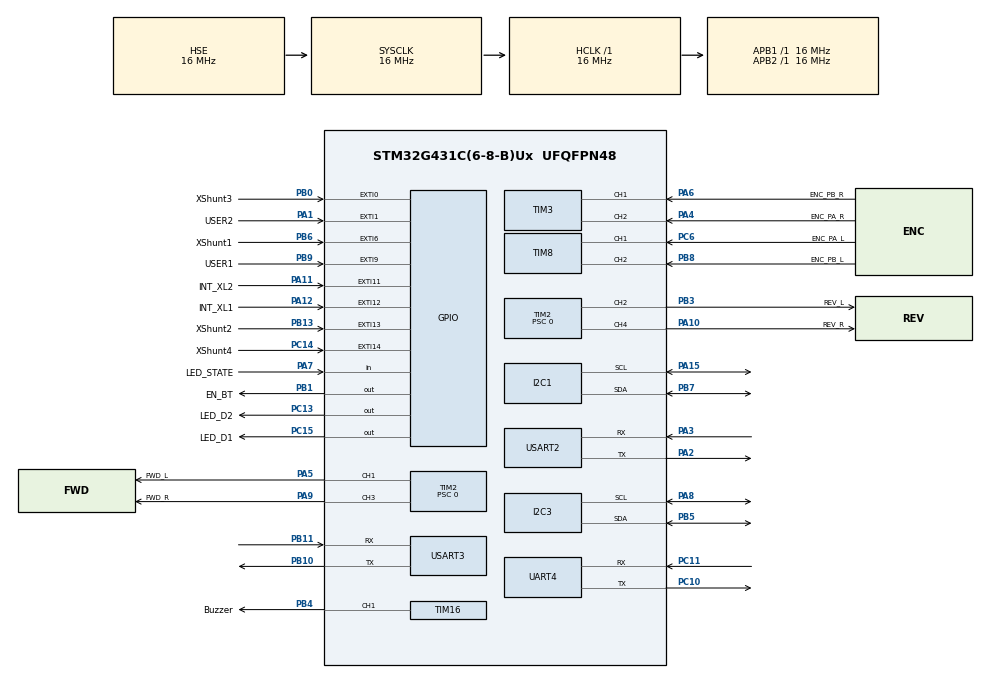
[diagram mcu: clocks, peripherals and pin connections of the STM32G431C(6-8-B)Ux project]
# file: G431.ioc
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Dma.I2C1_TX.0.Direction=DMA_MEMORY_TO_PERIPH
Dma.I2C1_TX.0.EventEnable=DISABLE
Dma.I2C1_TX.0.Instance=DMA1_Channel1
Dma.I2C1_TX.0.MemDataAlignment=DMA_MDATAALIGN_BYTE
Dma.I2C1_TX.0.MemInc=DMA_MINC_ENABLE
Dma.I2C1_TX.0.Mode=DMA_NORMAL
Dma.I2C1_TX.0.PeriphDataAlignment=DMA_PDATAALIGN_BYTE
Dma.I2C1_TX.0.PeriphInc=DMA_PINC_DISABLE
Dma.I2C1_TX.0.Polarity=HAL_DMAMUX_REQ_GEN_RISING
Dma.I2C1_TX.0.Priority=DMA_PRIORITY_MEDIUM
Dma.I2C1_TX.0.RequestNumber=1
Dma.I2C1_TX.0.SignalID=NONE
Dma.I2C1_TX.0.SyncEnable=DISABLE
Dma.I2C1_TX.0.SyncPolarity=HAL_DMAMUX_SYNC_NO_EVENT
Dma.I2C1_TX.0.SyncRequestNumber=1
Dma.I2C1_TX.0.SyncSignalID=NONE
Dma.Request0=I2C1_TX
FREERTOS.Tasks01=defaultTask,0,128,StartDefaultTask,Default,NULL,Dynamic,NULL,NULL
I2C1.Timing=0x00503D58
I2C3.Timing=0x00503D58
Mcu.Family=STM32G4
Mcu.Name=STM32G431C(6-8-B)Ux
Mcu.Package=UFQFPN48
NVIC.DMA1_Channel1_IRQn=true\:5\:0\:false\:false\:true\:true\:false\:true\:true
NVIC.EXTI0_IRQn=true\:5\:0\:false\:false\:true\:true\:true\:true\:true
NVIC.EXTI15_10_IRQn=true\:5\:0\:false\:false\:true\:true\:true\:true\:true
NVIC.EXTI1_IRQn=true\:5\:0\:false\:false\:true\:true\:true\:true\:true
NVIC.EXTI9_5_IRQn=true\:5\:0\:false\:false\:true\:true\:true\:true\:true
NVIC.FLASH_IRQn=true\:5\:0\:false\:false\:true\:true\:true\:true\:true
NVIC.FPU_IRQn=true\:5\:0\:false\:false\:true\:true\:true\:false\:true
NVIC.I2C1_ER_IRQn=true\:5\:0\:false\:false\:true\:true\:true\:true\:true
NVIC.I2C1_EV_IRQn=true\:5\:0\:false\:false\:true\:true\:true\:true\:true
NVIC.I2C3_ER_IRQn=true\:5\:0\:false\:false\:true\:true\:true\:true\:true
NVIC.I2C3_EV_IRQn=true\:5\:0\:false\:false\:true\:true\:true\:true\:true
NVIC.PVD_PVM_IRQn=true\:5\:0\:false\:false\:true\:true\:true\:true\:true
NVIC.PriorityGroup=NVIC_PRIORITYGROUP_4
NVIC.RCC_IRQn=true\:5\:0\:false\:false\:true\:true\:true\:false\:true
NVIC.TIM1_UP_TIM16_IRQn=true\:5\:0\:false\:false\:true\:true\:true\:true\:true
NVIC.TIM2_IRQn=true\:5\:0\:false\:false\:true\:true\:true\:true\:true
NVIC.TIM3_IRQn=true\:5\:0\:false\:false\:true\:true\:true\:true\:true
NVIC.TIM6_DAC_IRQn=true\:15\:0\:false\:false\:true\:false\:false\:true\:true
NVIC.TIM7_IRQn=true\:5\:0\:false\:false\:true\:true\:true\:true\:true
NVIC.TIM8_BRK_IRQn=true\:5\:0\:false\:false\:true\:true\:true\:true\:true
NVIC.TIM8_CC_IRQn=true\:5\:0\:false\:false\:true\:true\:true\:true\:true
NVIC.TIM8_TRG_COM_IRQn=true\:5\:0\:false\:false\:true\:true\:true\:true\:true
NVIC.TIM8_UP_IRQn=true\:5\:0\:false\:false\:true\:true\:true\:true\:true
NVIC.TimeBase=TIM6_DAC_IRQn
NVIC.TimeBaseIP=TIM6
NVIC.UART4_IRQn=true\:5\:0\:false\:false\:true\:true\:true\:true\:true
NVIC.USART2_IRQn=true\:5\:0\:false\:false\:true\:true\:true\:true\:true
NVIC.USART3_IRQn=true\:5\:0\:false\:false\:true\:true\:true\:true\:true
PA1.GPIO_Label=USER2
PA1.GPIO_ModeDefaultEXTI=GPIO_MODE_IT_FALLING
PA1.GPIO_PuPd=GPIO_PULLUP
PA1.Signal=GPXTI1
PA10.GPIO_Label=REV_R
PA10.Signal=S_TIM2_CH4
PA11.GPIO_Label=INT_XL2
PA11.Signal=GPXTI11
PA12.GPIO_Label=INT_XL1
PA12.Signal=GPXTI12
PA13.Mode=Serial_Wire
PA13.Signal=SYS_JTMS-SWDIO
PA14.Mode=Serial_Wire
PA14.Signal=SYS_JTCK-SWCLK
PA15.Mode=I2C
PA15.Signal=I2C1_SCL
PA2.Mode=Asynchronous
PA2.Signal=USART2_TX
PA3.Mode=Asynchronous
PA3.Signal=USART2_RX
PA4.GPIO_Label=ENC_PA_R
PA4.Signal=S_TIM3_CH2
PA5.GPIO_Label=FWD_L
PA5.Signal=S_TIM2_CH1
PA6.GPIO_Label=ENC_PB_R
PA6.Signal=S_TIM3_CH1
PA7.GPIO_Label=LED_STATE
PA7.Signal=GPIO_Input
PA8.Mode=I2C
PA8.Signal=I2C3_SCL
PA9.GPIO_Label=FWD_R
PA9.Signal=S_TIM2_CH3
PB0.GPIO_Label=XShunt3
PB0.Signal=GPXTI0
PB1.GPIO_Label=EN_BT
PB1.Signal=GPIO_Output
PB10.Mode=Asynchronous
PB10.Signal=USART3_TX
PB11.Mode=Asynchronous
PB11.Signal=USART3_RX
PB13.GPIO_Label=XShunt2
PB13.Signal=GPXTI13
PB15.GPIO_Label=M_CTRL
PB15.Signal=S_TIM15_CH2
PB3.GPIO_Label=REV_L
PB3.Signal=S_TIM2_CH2
PB4.GPIO_Label=Buzzer
PB4.Signal=S_TIM16_CH1
PB5.Mode=I2C
PB5.Signal=I2C3_SDA
PB6.GPIO_Label=XShunt1
PB6.Signal=GPXTI6
PB7.Mode=I2C
PB7.Signal=I2C1_SDA
PB8-BOOT0.GPIO_Label=ENC_PB_L
PB8-BOOT0.Signal=S_TIM8_CH2
PB9.GPIO_Label=USER1
PB9.GPIO_ModeDefaultEXTI=GPIO_MODE_IT_FALLING
PB9.GPIO_PuPd=GPIO_PULLUP
PB9.Signal=GPXTI9
PC10.Mode=Asynchronous
PC10.Signal=UART4_TX
PC11.Mode=Asynchronous
PC11.Signal=UART4_RX
PC13.GPIO_Label=LED_D2
PC13.Signal=GPIO_Output
PC14-OSC32_IN.GPIO_Label=XShunt4
PC14-OSC32_IN.Signal=GPXTI14
PC15-OSC32_OUT.GPIO_Label=LED_D1
PC15-OSC32_OUT.Signal=GPIO_Output
PC6.GPIO_Label=ENC_PA_L
PC6.Signal=S_TIM8_CH1
PF0-OSC_IN.Mode=HSE-External-Oscillator
PF0-OSC_IN.Signal=RCC_OSC_IN
PF1-OSC_OUT.Mode=HSE-External-Oscillator
PF1-OSC_OUT.Signal=RCC_OSC_OUT
ProjectManager.HeapSize=0x200
ProjectManager.StackSize=0x400
ProjectManager.TargetToolchain=STM32CubeIDE
RCC.ADC12Freq_Value=16000000
RCC.AHBFreq_Value=16000000
RCC.APB1Freq_Value=16000000
RCC.APB1TimFreq_Value=16000000
RCC.APB2Freq_Value=16000000
RCC.APB2TimFreq_Value=16000000
RCC.CortexFreq_Value=16000000
RCC.EXTERNAL_CLOCK_VALUE=12288000
RCC.HCLKFreq_Value=16000000
RCC.HSE_VALUE=16000000
RCC.HSI48_VALUE=48000000
RCC.HSI_VALUE=16000000
RCC.LSE_VALUE=32768
RCC.SYSCLKFreq_VALUE=16000000
RCC.SYSCLKSource=RCC_SYSCLKSOURCE_HSE
RCC.USBFreq_Value=64000000
RCC.VCOOutputFreq_Value=128000000
SH.S_TIM15_CH2.0=TIM15_CH2
SH.S_TIM16_CH1.0=TIM16_CH1,PWM Generation1 CH1
SH.S_TIM2_CH1.0=TIM2_CH1,PWM Generation1 CH1
SH.S_TIM2_CH2.0=TIM2_CH2,PWM Generation2 CH2
SH.S_TIM2_CH3.0=TIM2_CH3,PWM Generation3 CH3
SH.S_TIM2_CH4.0=TIM2_CH4,PWM Generation4 CH4
SH.S_TIM3_CH1.0=TIM3_CH1,Encoder_Interface
SH.S_TIM3_CH2.0=TIM3_CH2,Encoder_Interface
SH.S_TIM8_CH1.0=TIM8_CH1,Encoder_Interface
SH.S_TIM8_CH2.0=TIM8_CH2,Encoder_Interface
TIM16.Channel=TIM_CHANNEL_1
TIM2.Channel-PWM\ Generation1\ CH1=TIM_CHANNEL_1
TIM2.Channel-PWM\ Generation2\ CH2=TIM_CHANNEL_2
TIM2.Channel-PWM\ Generation3\ CH3=TIM_CHANNEL_3
TIM2.Channel-PWM\ Generation4\ CH4=TIM_CHANNEL_4
TIM2.PeriodNoDither=8000-1
TIM2.Prescaler=0
TIM7.PeriodNoDither=50000
TIM7.Prescaler=160-1
USART2.VirtualMode-Asynchronous=VM_ASYNC
USART3.VirtualMode-Asynchronous=VM_ASYNC
VP_FREERTOS_VS_CMSIS_V1.Mode=CMSIS_V1
VP_SYS_VS_DBSignals.Mode=DisableDeadBatterySignals
VP_SYS_VS_tim6.Mode=TIM6
VP_TIM16_VS_ClockSourceINT.Mode=Enable_Timer
VP_TIM7_VS_ClockSourceINT.Mode=Enable_Timer
board=custom

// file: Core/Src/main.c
/* USER CODE BEGIN Header */
/**
  ******************************************************************************
  * @file           : main.c
  * @brief          : Main program body
  ******************************************************************************
  * @attention
  *
  * Copyright (c) 2025 STMicroelectronics.
  * All rights reserved.
  *
  * This software is licensed under terms that can be found in the LICENSE file
  * in the root directory of this software component.
  * If no LICENSE file comes with this software, it is provided AS-IS.
  *
  ******************************************************************************
  */
/* USER CODE END Header */
#include "main.h"
#include "cmsis_os.h"
#include "dma.h"
#include "i2c.h"
#include "tim.h"
#include "usart.h"
#include "gpio.h"

/* USER CODE BEGIN Includes */
#include "ssd1306.h"
#include "ssd1306_fonts.h"
#include "oled.h"
#include <stdio.h>
/* USER CODE END Includes */

/* USER CODE BEGIN PV */

SemaphoreHandle_t sem_select_menu;
SemaphoreHandle_t sem_enter_menu;

/* USER CODE END PV */

void SystemClock_Config(void);
void MX_FREERTOS_Init(void);

/* USER CODE BEGIN 0 */
int __io_putchar(int chr)
{
	HAL_UART_Transmit(&huart4, (uint8_t*)&chr,1,HAL_MAX_DELAY);
	return chr;
}

void task_screen(void * unused){

	for(;;){
		// Attend soit un "select", soit un "enter"
		if (xSemaphoreTake(sem_select_menu, 0) == pdTRUE)
		{
			select_Menu();
		}

		if (xSemaphoreTake(sem_enter_menu, 0) == pdTRUE)
		{
			enter_Menu();
		}

		// Affichage + gestion de veille
		displayMenu();
		checkMenuTimeout();
	}
}

/* USER CODE END 0 */

int main(void)
{

  /* MCU Configuration--------------------------------------------------------*/

  /* Reset of all peripherals, Initializes the Flash interface and the Systick. */
  HAL_Init();

  /* Configure the system clock */
  SystemClock_Config();

  /* Initialize all configured peripherals */
  MX_GPIO_Init();
  MX_DMA_Init();
  MX_I2C1_Init();
  MX_I2C3_Init();
  MX_TIM2_Init();
  MX_TIM3_Init();
  MX_UART4_Init();
  MX_USART2_UART_Init();
  MX_USART3_UART_Init();
  MX_TIM16_Init();
  MX_TIM7_Init();
  MX_TIM8_Init();
  /* USER CODE BEGIN 2 */
  ssd1306_Init();

  Init_bitmap();

  ssd1306_SetCursor(20,20);
  ssd1306_Fill(Black);
  ssd1306_WriteString("Ready", Font_16x26, White);
  ssd1306_UpdateScreen();
  HAL_Delay(100);
  HAL_TIM_Base_Start_IT(&htim7);

  printf("\r\n==== G431 ====\r\n");

  sem_select_menu = xSemaphoreCreateBinary();
  sem_enter_menu = xSemaphoreCreateBinary();

  if (xTaskCreate(task_screen, "SCREEN", 128, NULL,3,NULL) != pdPASS){
	 printf("Error creating task screen\r\n");
	 Error_Handler();
  }

  vTaskStartScheduler();
  /* USER CODE END 2 */

  /* Call init function for freertos objects (in cmsis_os2.c) */
  MX_FREERTOS_Init();

  /* Start scheduler */
  osKernelStart();

  /* We should never get here as control is now taken by the scheduler */

  /* Infinite loop */
  while (1)
  {

    /* USER CODE BEGIN 3 */
//      displayMenu();
//      checkMenuTimeout();

  }
  /* USER CODE END 3 */
}

void SystemClock_Config(void)
{
  RCC_OscInitTypeDef RCC_OscInitStruct = {0};
  RCC_ClkInitTypeDef RCC_ClkInitStruct = {0};

  /** Configure the main internal regulator output voltage
  */
  HAL_PWREx_ControlVoltageScaling(PWR_REGULATOR_VOLTAGE_SCALE1);

  /** Initializes the RCC Oscillators according to the specified parameters
  * in the RCC_OscInitTypeDef structure.
  */
  RCC_OscInitStruct.OscillatorType = RCC_OSCILLATORTYPE_HSE;
  RCC_OscInitStruct.HSEState = RCC_HSE_ON;
  RCC_OscInitStruct.PLL.PLLState = RCC_PLL_NONE;
  if (HAL_RCC_OscConfig(&RCC_OscInitStruct) != HAL_OK)
  {
    Error_Handler();
  }

  /** Initializes the CPU, AHB and APB buses clocks
  */
  RCC_ClkInitStruct.ClockType = RCC_CLOCKTYPE_HCLK|RCC_CLOCKTYPE_SYSCLK
                              |RCC_CLOCKTYPE_PCLK1|RCC_CLOCKTYPE_PCLK2;
  RCC_ClkInitStruct.SYSCLKSource = RCC_SYSCLKSOURCE_HSE;
  RCC_ClkInitStruct.AHBCLKDivider = RCC_SYSCLK_DIV1;
  RCC_ClkInitStruct.APB1CLKDivider = RCC_HCLK_DIV1;
  RCC_ClkInitStruct.APB2CLKDivider = RCC_HCLK_DIV1;

  if (HAL_RCC_ClockConfig(&RCC_ClkInitStruct, FLASH_LATENCY_0) != HAL_OK)
  {
    Error_Handler();
  }
}

void HAL_TIM_PeriodElapsedCallback(TIM_HandleTypeDef *htim)
{
  if (htim->Instance == TIM6)
  {
    HAL_IncTick();
  }
}

void Error_Handler(void)
{
  __disable_irq();
  while (1)
  {
  }
}
